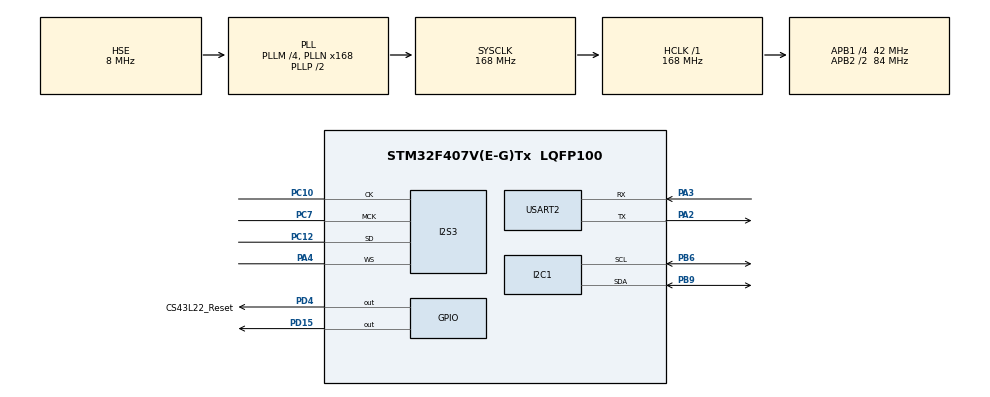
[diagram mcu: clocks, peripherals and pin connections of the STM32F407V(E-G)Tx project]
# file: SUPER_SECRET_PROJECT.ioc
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Dma.Request0=SPI3_TX
Dma.SPI3_TX.0.Direction=DMA_MEMORY_TO_PERIPH
Dma.SPI3_TX.0.FIFOMode=DMA_FIFOMODE_ENABLE
Dma.SPI3_TX.0.FIFOThreshold=DMA_FIFO_THRESHOLD_FULL
Dma.SPI3_TX.0.Instance=DMA1_Stream5
Dma.SPI3_TX.0.MemBurst=DMA_MBURST_SINGLE
Dma.SPI3_TX.0.MemDataAlignment=DMA_MDATAALIGN_HALFWORD
Dma.SPI3_TX.0.MemInc=DMA_MINC_ENABLE
Dma.SPI3_TX.0.Mode=DMA_CIRCULAR
Dma.SPI3_TX.0.PeriphBurst=DMA_PBURST_SINGLE
Dma.SPI3_TX.0.PeriphDataAlignment=DMA_PDATAALIGN_HALFWORD
Dma.SPI3_TX.0.PeriphInc=DMA_PINC_DISABLE
Dma.SPI3_TX.0.Priority=DMA_PRIORITY_LOW
I2S3.AudioFreq=I2S_AUDIOFREQ_48K
I2S3.CPOL=I2S_CPOL_LOW
I2S3.ErrorAudioFreq=-2.34 %
I2S3.FullDuplexMode=I2S_FULLDUPLEXMODE_DISABLE
I2S3.Instance=SPI$Index
I2S3.RealAudioFreq=46.875 KHz
I2S3.VirtualMode=I2S_MODE_MASTER
Mcu.Family=STM32F4
Mcu.Name=STM32F407V(E-G)Tx
Mcu.Package=LQFP100
NVIC.DMA1_Stream5_IRQn=true\:0\:0\:false\:false\:true\:false\:true
NVIC.PriorityGroup=NVIC_PRIORITYGROUP_4
NVIC.USART2_IRQn=true\:0\:0\:false\:false\:true\:true\:true
PA2.Mode=Asynchronous
PA2.Signal=USART2_TX
PA3.Mode=Asynchronous
PA3.Signal=USART2_RX
PA4.Mode=Half_Duplex_Master
PA4.Signal=I2S3_WS
PB6.Mode=I2C
PB6.Signal=I2C1_SCL
PB9.Mode=I2C
PB9.Signal=I2C1_SDA
PC10.Mode=Half_Duplex_Master
PC10.Signal=I2S3_CK
PC12.Mode=Half_Duplex_Master
PC12.Signal=I2S3_SD
PC14-OSC32_IN.Mode=LSE-External-Oscillator
PC14-OSC32_IN.Signal=RCC_OSC32_IN
PC15-OSC32_OUT.Mode=LSE-External-Oscillator
PC15-OSC32_OUT.Signal=RCC_OSC32_OUT
PC7.Mode=Master_Clock_Activated
PC7.Signal=I2S3_MCK
PD15.GPIO_Speed=GPIO_SPEED_FREQ_VERY_HIGH
PD15.Signal=GPIO_Output
PD4.GPIO_Label=CS43L22_Reset
PD4.GPIO_PuPd=GPIO_PULLDOWN
PD4.GPIO_Speed=GPIO_SPEED_FREQ_LOW
PD4.Signal=GPIO_Output
PH0-OSC_IN.Mode=HSE-External-Oscillator
PH0-OSC_IN.Signal=RCC_OSC_IN
PH1-OSC_OUT.Mode=HSE-External-Oscillator
PH1-OSC_OUT.Signal=RCC_OSC_OUT
ProjectManager.HeapSize=0x200
ProjectManager.StackSize=0x400
ProjectManager.TargetToolchain=STM32CubeIDE
RCC.48MHZClocksFreq_Value=84000000
RCC.AHBFreq_Value=168000000
RCC.APB1CLKDivider=RCC_HCLK_DIV4
RCC.APB1Freq_Value=42000000
RCC.APB1TimFreq_Value=84000000
RCC.APB2CLKDivider=RCC_HCLK_DIV2
RCC.APB2Freq_Value=84000000
RCC.APB2TimFreq_Value=168000000
RCC.CortexFreq_Value=168000000
RCC.HCLKFreq_Value=168000000
RCC.HSE_VALUE=8000000
RCC.HSI_VALUE=16000000
RCC.PLLM=4
RCC.PLLN=168
RCC.PLLSourceVirtual=RCC_PLLSOURCE_HSE
RCC.SYSCLKFreq_VALUE=168000000
RCC.SYSCLKSource=RCC_SYSCLKSOURCE_PLLCLK
RCC.VCOOutputFreq_Value=336000000
USART2.VirtualMode=VM_ASYNC
board=custom

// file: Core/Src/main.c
/* USER CODE BEGIN Header */
/**
  ******************************************************************************
  * @file           : main.c
  * @brief          : Main program body
  ******************************************************************************
  * @attention
  *
  * Copyright (c) 2021 STMicroelectronics.
  * All rights reserved.
  *
  * This software is licensed under terms that can be found in the LICENSE file
  * in the root directory of this software component.
  * If no LICENSE file comes with this software, it is provided AS-IS.
  *
  ******************************************************************************
  */
/* USER CODE END Header */
#include "main.h"
#include "dma.h"
#include "i2c.h"
#include "i2s.h"
#include "usart.h"
#include "gpio.h"

/* USER CODE BEGIN Includes */
#include "audio.h"
#include <stdlib.h>
#include "signals.h"
/* USER CODE END Includes */

/* USER CODE BEGIN PV */
char RX_BUFFER[BUFSIZE];
int RX_BUFFER_HEAD, RX_BUFFER_TAIL;
uint8_t rx_data;
/* USER CODE END PV */

void SystemClock_Config(void);

int main(void)
{
  /* USER CODE BEGIN 1 */
	char c;
	int tone_state[TONE_NUMBER] = {0};
  /* USER CODE END 1 */

  /* MCU Configuration--------------------------------------------------------*/

  /* Reset of all peripherals, Initializes the Flash interface and the Systick. */
  HAL_Init();

  /* Configure the system clock */
  SystemClock_Config();

  /* Initialize all configured peripherals */
  MX_GPIO_Init();
  MX_USART2_UART_Init();
  MX_I2C1_Init();
  MX_DMA_Init();
  MX_I2S3_Init();
  /* USER CODE BEGIN 2 */
  configAudio();
  generateSignals();
  /* USER CODE END 2 */

  /* Infinite loop */
  /* USER CODE BEGIN WHILE */
  while (1)
  {
	  if ( USART2_Dequeue(&c) != 0) {
		  if(c=='a'){
			  tone_state[TON_C]^=1;
		  }
		  else if(c=='w'){
			  tone_state[TON_C_SHARP]^=1;
		  }
		  else if(c=='s'){
			  tone_state[TON_D]^=1;
		  }
		  else if(c=='e'){
			  tone_state[TON_D_SHARP]^=1;
		  }
		  else if(c=='d'){
			  tone_state[TON_E]^=1;
		  }
		  else if(c=='f'){
			  tone_state[TON_F]^=1;
		  }
		  else if(c=='t'){
			  tone_state[TON_F_SHARP]^=1;
		  }
		  else if(c=='g'){
			  tone_state[TON_G]^=1;
		  }
		  else if(c=='y' || c=='z'){
			  tone_state[TON_G_SHARP]^=1;
		  }
		  else if(c=='h'){
			  tone_state[TON_A]^=1;
		  }
		  else if(c=='u'){
			  tone_state[TON_A_SHARP]^=1;
		  }
		  else if(c=='j'){
			  tone_state[TON_H]^=1;
		  }
	  }

	  if (tone_state[TON_C] == 1) {
		  HAL_I2S_Transmit_DMA(&hi2s3, C, 2*C_SAMPLES);
	  } else if (tone_state[TON_C_SHARP] == 1) {
		  HAL_I2S_Transmit_DMA(&hi2s3, C_SHARP, 2*C_SHARP_SAMPLES);
	  } else if (tone_state[TON_D] == 1) {
		  HAL_I2S_Transmit_DMA(&hi2s3, D, 2*D_SAMPLES);
	  }	else if (tone_state[TON_D_SHARP] == 1) {
		  HAL_I2S_Transmit_DMA(&hi2s3, D_SHARP, 2*D_SHARP_SAMPLES);
	  } else if (tone_state[TON_E] == 1) {
		  HAL_I2S_Transmit_DMA(&hi2s3, E, 2*E_SAMPLES);
	  } else if (tone_state[TON_F] == 1) {
		  HAL_I2S_Transmit_DMA(&hi2s3, F, 2*F_SAMPLES);
	  } else if (tone_state[TON_F_SHARP] == 1) {
		  HAL_I2S_Transmit_DMA(&hi2s3, F_SHARP, 2*F_SHARP_SAMPLES);
	  } else if (tone_state[TON_G] == 1) {
		  HAL_I2S_Transmit_DMA(&hi2s3, C, 2*G_SAMPLES);
	  } else if (tone_state[TON_G_SHARP] == 1) {
		  HAL_I2S_Transmit_DMA(&hi2s3, G_SHARP, 2*G_SHARP_SAMPLES);
	  } else if (tone_state[TON_A] == 1) {
		  HAL_I2S_Transmit_DMA(&hi2s3, A, 2*A_SAMPLES);
	  } else if (tone_state[TON_A_SHARP] == 1) {
		  HAL_I2S_Transmit_DMA(&hi2s3, A_SHARP, 2*A_SHARP_SAMPLES);
	  } else if (tone_state[TON_H] == 1) {
		  HAL_I2S_Transmit_DMA(&hi2s3, H, 2*H_SAMPLES);
	  } else {
		  HAL_I2S_DMAStop(&hi2s3);
	  }
    /* USER CODE END WHILE */

  }
}

void SystemClock_Config(void)
{
  RCC_OscInitTypeDef RCC_OscInitStruct = {0};
  RCC_ClkInitTypeDef RCC_ClkInitStruct = {0};

  /** Configure the main internal regulator output voltage
  */
  __HAL_RCC_PWR_CLK_ENABLE();
  __HAL_PWR_VOLTAGESCALING_CONFIG(PWR_REGULATOR_VOLTAGE_SCALE1);
  /** Initializes the RCC Oscillators according to the specified parameters
  * in the RCC_OscInitTypeDef structure.
  */
  RCC_OscInitStruct.OscillatorType = RCC_OSCILLATORTYPE_HSE;
  RCC_OscInitStruct.HSEState = RCC_HSE_ON;
  RCC_OscInitStruct.PLL.PLLState = RCC_PLL_ON;
  RCC_OscInitStruct.PLL.PLLSource = RCC_PLLSOURCE_HSE;
  RCC_OscInitStruct.PLL.PLLM = 4;
  RCC_OscInitStruct.PLL.PLLN = 168;
  RCC_OscInitStruct.PLL.PLLP = RCC_PLLP_DIV2;
  RCC_OscInitStruct.PLL.PLLQ = 4;
  if (HAL_RCC_OscConfig(&RCC_OscInitStruct) != HAL_OK)
  {
    Error_Handler();
  }
  /** Initializes the CPU, AHB and APB buses clocks
  */
  RCC_ClkInitStruct.ClockType = RCC_CLOCKTYPE_HCLK|RCC_CLOCKTYPE_SYSCLK
                              |RCC_CLOCKTYPE_PCLK1|RCC_CLOCKTYPE_PCLK2;
  RCC_ClkInitStruct.SYSCLKSource = RCC_SYSCLKSOURCE_PLLCLK;
  RCC_ClkInitStruct.AHBCLKDivider = RCC_SYSCLK_DIV1;
  RCC_ClkInitStruct.APB1CLKDivider = RCC_HCLK_DIV4;
  RCC_ClkInitStruct.APB2CLKDivider = RCC_HCLK_DIV2;

  if (HAL_RCC_ClockConfig(&RCC_ClkInitStruct, FLASH_LATENCY_5) != HAL_OK)
  {
    Error_Handler();
  }
}

void Error_Handler(void)
{
  __disable_irq();
  while (1)
  {
  }
}
